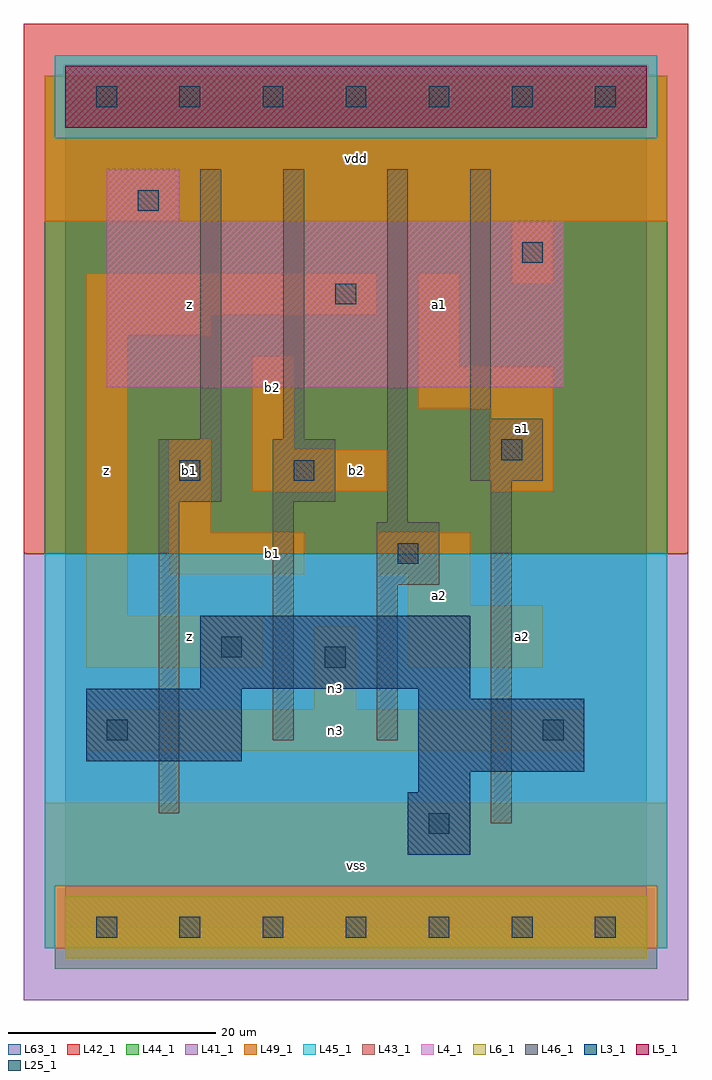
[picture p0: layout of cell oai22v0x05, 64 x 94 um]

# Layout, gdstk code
import gdstk
lib = gdstk.Library(unit=1e-6, precision=1e-09)
def R(c, l, rs):  # rectangles x0, y0, x1, y1
    for r in rs: c.add(gdstk.rectangle(r[:2], r[2:], *l))
def A(c, l, x, y, w, h, nx, ny, dx, dy):  # array of equal rectangles
    R(c, l, [(x+i*dx, y+j*dy, x+i*dx+w, y+j*dy+h) for i in range(nx) for j in range(ny)])
L3_1 = (3, 1)
L4_1 = (4, 1)
L5_1 = (5, 1)
L6_1 = (6, 1)
L25_1 = (25, 1)
L41_1 = (41, 1)
L42_1 = (42, 1)
L43_1 = (43, 1)
L44_1 = (44, 1)
L45_1 = (45, 1)
L46_1 = (46, 1)
L49_1 = (49, 1)
L63_1 = (63, 1)

oai22v0x05 = lib.new_cell('oai22v0x05')
R(oai22v0x05, L3_1, [(33,7,39,13), (34,13,39,15), (34,15,50,22), (2,16,17,23), (34,22,39,23), (13,23,39,30)])
R(oai22v0x05, L4_1, [(4,52,48,68), (4,68,11,73)])
R(oai22v0x05, L5_1, [(0,77,56,83)])
R(oai22v0x05, L6_1, [(0,-3,56,3), (0,-3,56,3)])
A(oai22v0x05, L25_1, 3, -1, 2, 2, 7, 2, 8, 80)
R(oai22v0x05, L25_1, [(35,9,37,11), (4,18,6,20), (46,18,48,20), (25,25,27,27), (15,26,17,28), (32,35,34,37), (11,43,13,45), (22,43,24,45), (42,45,44,47), (26,60,28,62), (44,64,46,66), (7,69,9,71)])
R(oai22v0x05, L41_1, [(-4,-7,60,36)])
R(oai22v0x05, L42_1, [(-4,36,60,87)])
R(oai22v0x05, L43_1, [(0,-3,56,3), (33,7,39,13), (34,13,39,15), (34,15,50,22), (2,16,17,23), (34,22,39,23), (13,23,39,30), (4,52,48,68), (4,68,11,73), (0,77,56,83)])
R(oai22v0x05, L44_1, [(-1,-4,57,4), (-2,36,58,76), (-2,76,-1,82), (57,76,58,82)])
R(oai22v0x05, L45_1, [(-2,-2,-1,4), (57,-2,58,4), (-2,4,58,36), (-1,76,57,84)])
R(oai22v0x05, L46_1, [(41,10,43,43), (9,11,11,41), (20,18,22,41), (30,18,32,33), (30,33,36,39), (31,39,33,73), (9,41,15,47), (20,41,26,47), (39,43,46,49), (13,47,15,73), (21,47,23,73), (39,49,41,73)])
R(oai22v0x05, L49_1, [(-2,-2,58,12), (2,17,50,21), (24,21,28,29), (2,25,19,30), (33,25,46,31), (2,30,6,57), (33,31,39,34), (10,34,23,38), (30,34,39,38), (10,38,14,47), (18,42,31,46), (41,42,47,50), (18,46,22,55), (34,50,47,54), (34,54,38,63), (2,57,14,59), (2,59,30,63), (43,62,47,68), (-2,68,58,82)])
R(oai22v0x05, L63_1, [(0,0,56,80)])
oai22v0x05.add(gdstk.Label('z', (4,44), layer=49, texttype=1))
oai22v0x05.add(gdstk.Label('z', (12,28), layer=49, texttype=1))
oai22v0x05.add(gdstk.Label('b1', (12,44), layer=49, texttype=1))
oai22v0x05.add(gdstk.Label('z', (12,60), layer=49, texttype=1))
oai22v0x05.add(gdstk.Label('vss', (28,6), layer=49, texttype=1))
oai22v0x05.add(gdstk.Label('n3', (26,23), layer=49, texttype=1))
oai22v0x05.add(gdstk.Label('b1', (20,36), layer=49, texttype=1))
oai22v0x05.add(gdstk.Label('b2', (28,44), layer=49, texttype=1))
oai22v0x05.add(gdstk.Label('b2', (20,52), layer=49, texttype=1))
oai22v0x05.add(gdstk.Label('vdd', (28,74), layer=49, texttype=1))
oai22v0x05.add(gdstk.Label('a2', (44,28), layer=49, texttype=1))
oai22v0x05.add(gdstk.Label('a2', (36,32), layer=49, texttype=1))
oai22v0x05.add(gdstk.Label('a1', (44,48), layer=49, texttype=1))
oai22v0x05.add(gdstk.Label('a1', (36,60), layer=49, texttype=1))
oai22v0x05.add(gdstk.Label('n3', (26,19), layer=49, texttype=1))

lib.write_gds('oai22v0x05.gds')
